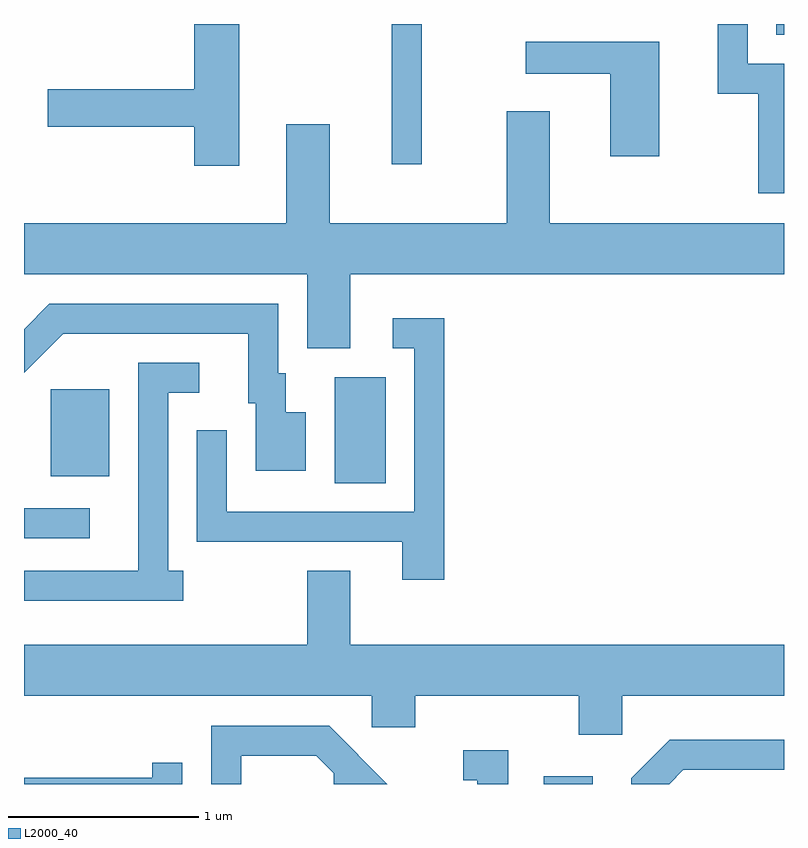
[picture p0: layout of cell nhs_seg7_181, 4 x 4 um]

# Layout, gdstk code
import gdstk
lib = gdstk.Library(unit=1e-6, precision=1e-09)
def R(c, l, rs):  # rectangles x0, y0, x1, y1
    for r in rs: c.add(gdstk.rectangle(r[:2], r[2:], *l))
def P(c, l, *ps):  # polygons
    for p in ps: c.add(gdstk.Polygon(p, *l))
L2000_40 = (2000, 40)

nhs_seg7_181 = lib.new_cell('nhs_seg7_181')
R(nhs_seg7_181, L2000_40, [(192.346,1758.252,192.604,1758.294), (189.611,1759.546,189.958,1759.704), (191.246,1759.836,191.514,1760.394), (189.751,1759.871,190.059,1760.329), (191.546,1761.513,191.704,1762.252), (193.571,1762.196,193.611,1762.252)])
P(nhs_seg7_181, L2000_40, [(190.744,1762.252),(190.506,1762.252),(190.506,1761.909),(189.736,1761.909),(189.736,1761.711),(190.506,1761.711),(190.506,1761.506),(190.744,1761.506)],
  [(193.611,1762.044),(193.419,1762.044),(193.419,1762.252),(193.261,1762.252),(193.261,1761.886),(193.476,1761.886),(193.476,1761.361),(193.611,1761.361)],
  [(192.954,1762.159),(192.253,1762.159),(192.253,1761.991),(192.696,1761.991),(192.696,1761.556),(192.954,1761.556)],
  [(191.329,1760.936),(193.611,1760.936),(193.611,1761.204),(192.379,1761.204),(192.379,1761.794),(192.151,1761.794),(192.151,1761.204),(191.219,1761.204),(191.219,1761.724),(190.991,1761.724),(190.991,1761.204),(189.611,1761.204),(189.611,1760.936),(191.101,1760.936),(191.101,1760.546),(191.329,1760.546)],
  [(191.094,1760.209),(190.989,1760.209),(190.989,1760.414),(190.949,1760.414),(190.949,1760.779),(189.744,1760.779),(189.611,1760.646),(189.611,1760.416),(189.817,1760.621),(190.791,1760.621),(190.791,1760.256),(190.831,1760.256),(190.831,1759.901),(191.094,1759.901)],
  [(191.824,1760.704),(191.553,1760.704),(191.553,1760.546),(191.666,1760.546),(191.666,1759.684),(190.679,1759.684),(190.679,1760.113),(190.521,1760.113),(190.521,1759.526),(191.601,1759.526),(191.601,1759.326),(191.824,1759.326)],
  [(190.448,1759.374),(190.369,1759.374),(190.369,1760.311),(190.533,1760.311),(190.533,1760.469),(190.211,1760.469),(190.211,1759.374),(189.611,1759.374),(189.611,1759.216),(190.448,1759.216)],
  [(192.759,1758.716),(193.611,1758.716),(193.611,1758.984),(191.329,1758.984),(191.329,1759.374),(191.101,1759.374),(191.101,1758.984),(189.611,1758.984),(189.611,1758.716),(191.441,1758.716),(191.441,1758.551),(191.669,1758.551),(191.669,1758.716),(192.531,1758.716),(192.531,1758.511),(192.759,1758.511)],
  [(190.754,1758.401),(191.149,1758.401),(191.241,1758.309),(191.241,1758.252),(191.524,1758.252),(191.217,1758.559),(190.596,1758.559),(190.596,1758.252),(190.754,1758.252)],
  [(193.082,1758.326),(193.611,1758.326),(193.611,1758.484),(193.009,1758.484),(192.806,1758.282),(192.806,1758.252),(193.007,1758.252)],
  [(192.159,1758.429),(191.923,1758.429),(191.923,1758.271),(191.996,1758.271),(191.996,1758.252),(192.159,1758.252)],
  [(190.444,1758.363),(190.286,1758.363),(190.286,1758.284),(189.611,1758.284),(189.611,1758.252),(190.444,1758.252)])

lib.write_gds('nhs_seg7_181.gds')
